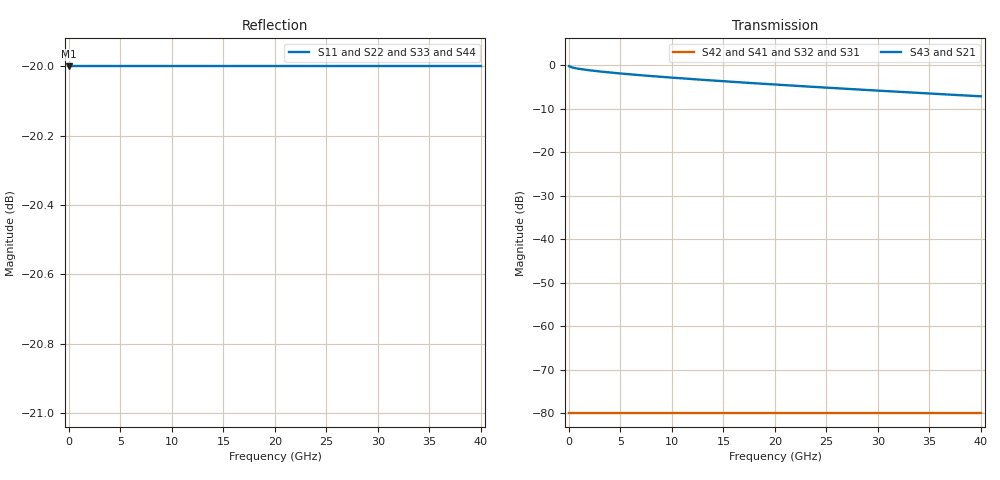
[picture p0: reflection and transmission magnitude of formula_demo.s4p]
! Generated by insertion_loss_tool
! Matrix convention: Sij means output port i due to input port j
# GHZ S RI R 50
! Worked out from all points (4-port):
!   201 points, 10 MHz to 40 GHz, reference 50 ohm
!   strongest paths, dB at 10 MHz, 10.01 GHz, 20 GHz, 30 GHz, 40 GHz:
!     S43: -0.2, -2.8, -4.4, -5.8, -7.1
!     S21: -0.2, -2.8, -4.4, -5.8, -7.1
!     S42: -80.0, -80.0, -80.0, -80.0, -80.0
!     S41: -80.0, -80.0, -80.0, -80.0, -80.0
!     S32: -80.0, -80.0, -80.0, -80.0, -80.0
!     S31: -80.0, -80.0, -80.0, -80.0, -80.0
!   lowest |S11| = -20.0 dB at 10 MHz (marker M1), VSWR 1.22, Z = 49.1 + j9.91 ohm
!   |S11| at or under -10 dB: start of sweep to end of sweep
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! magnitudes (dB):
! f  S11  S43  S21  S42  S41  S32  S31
! 10 MHz  -20.0  -0.2  -0.2  -80.0  -80.0  -80.0  -80.0
! 209.9 MHz  -20.0  -0.4  -0.4  -80.0  -80.0  -80.0  -80.0
! 809.8 MHz  -20.0  -0.7  -0.7  -80.0  -80.0  -80.0  -80.0
! 2.809 GHz  -20.0  -1.3  -1.3  -80.0  -80.0  -80.0  -80.0
! 10.41 GHz  -20.0  -2.9  -2.9  -80.0  -80.0  -80.0  -80.0
! 22.8 GHz  -20.0  -4.8  -4.8  -80.0  -80.0  -80.0  -80.0
! 40 GHz  -20.0  -7.1  -7.1  -80.0  -80.0  -80.0  -80.0
